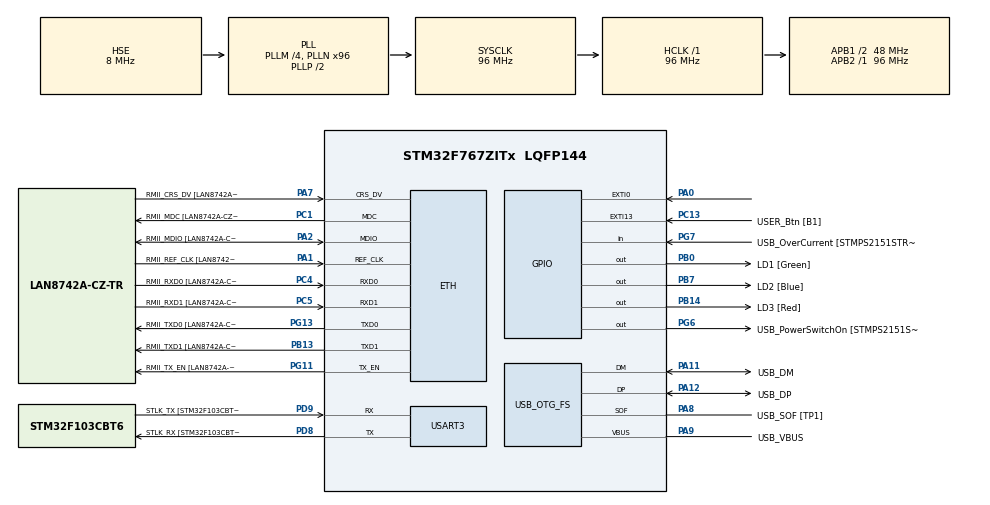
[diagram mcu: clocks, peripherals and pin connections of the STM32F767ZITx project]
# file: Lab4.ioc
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ETH.MediaInterface=HAL_ETH_RMII_MODE
ETH.PHY_Name=LAN8742A_PHY_ADDRESS
ETH.PHY_Value=0
ETH.PhyAddress=0
Mcu.Family=STM32F7
Mcu.Name=STM32F767ZITx
Mcu.Package=LQFP144
NVIC.EXTI0_IRQn=true\:2\:3\:true\:false\:true\:true\:true\:true
NVIC.EXTI15_10_IRQn=true\:3\:1\:true\:false\:true\:true\:true\:true
NVIC.PriorityGroup=NVIC_PRIORITYGROUP_2
PA0/WKUP.GPIO_ModeDefaultEXTI=GPIO_MODE_IT_FALLING
PA0/WKUP.Signal=GPXTI0
PA1.GPIO_Label=RMII_REF_CLK [LAN8742A-CZ-TR_REFCLK0]
PA1.Mode=RMII
PA1.Signal=ETH_REF_CLK
PA10.GPIO_Label=USB_ID
PA10.Signal=USB_OTG_FS_ID
PA11.GPIO_Label=USB_DM
PA11.Mode=Device_Only
PA11.Signal=USB_OTG_FS_DM
PA12.GPIO_Label=USB_DP
PA12.Mode=Device_Only
PA12.Signal=USB_OTG_FS_DP
PA13.GPIO_Label=TMS
PA13.Mode=Serial_Wire
PA13.Signal=SYS_JTMS-SWDIO
PA14.GPIO_Label=TCK
PA14.Mode=Serial_Wire
PA14.Signal=SYS_JTCK-SWCLK
PA2.GPIO_Label=RMII_MDIO [LAN8742A-CZ-TR_MDIO]
PA2.Mode=RMII
PA2.Signal=ETH_MDIO
PA7.GPIO_Label=RMII_CRS_DV [LAN8742A-CZ-TR_CRS_DV]
PA7.Mode=RMII
PA7.Signal=ETH_CRS_DV
PA8.GPIO_Label=USB_SOF [TP1]
PA8.Mode=Activate_SOF_FS
PA8.Signal=USB_OTG_FS_SOF
PA9.GPIO_Label=USB_VBUS
PA9.Mode=Activate_VBUS
PA9.Signal=USB_OTG_FS_VBUS
PB0.GPIO_Label=LD1 [Green]
PB0.Signal=GPIO_Output
PB13.GPIO_Label=RMII_TXD1 [LAN8742A-CZ-TR_TXD1]
PB13.Mode=RMII
PB13.Signal=ETH_TXD1
PB14.GPIO_Label=LD3 [Red]
PB14.Signal=GPIO_Output
PB3.GPIO_Label=SWO
PB3.Signal=SYS_JTDO-SWO
PB7.GPIO_Label=LD2 [Blue]
PB7.Signal=GPIO_Output
PC1.GPIO_Label=RMII_MDC [LAN8742A-CZ-TR_MDC]
PC1.Mode=RMII
PC1.Signal=ETH_MDC
PC13.GPIO_Label=USER_Btn [B1]
PC13.GPIO_ModeDefaultEXTI=GPIO_MODE_IT_RISING
PC13.Signal=GPXTI13
PC14/OSC32_IN.Mode=LSE-External-Oscillator
PC14/OSC32_IN.Signal=RCC_OSC32_IN
PC15/OSC32_OUT.Mode=LSE-External-Oscillator
PC15/OSC32_OUT.Signal=RCC_OSC32_OUT
PC4.GPIO_Label=RMII_RXD0 [LAN8742A-CZ-TR_RXD0]
PC4.Mode=RMII
PC4.Signal=ETH_RXD0
PC5.GPIO_Label=RMII_RXD1 [LAN8742A-CZ-TR_RXD1]
PC5.Mode=RMII
PC5.Signal=ETH_RXD1
PD8.GPIO_Label=STLK_RX [STM32F103CBT6_PA3]
PD8.Mode=Asynchronous
PD8.Signal=USART3_TX
PD9.GPIO_Label=STLK_TX [STM32F103CBT6_PA2]
PD9.Mode=Asynchronous
PD9.Signal=USART3_RX
PG11.GPIO_Label=RMII_TX_EN [LAN8742A-CZ-TR_TXEN]
PG11.Mode=RMII
PG11.Signal=ETH_TX_EN
PG13.GPIO_Label=RMII_TXD0 [LAN8742A-CZ-TR_TXD0]
PG13.Mode=RMII
PG13.Signal=ETH_TXD0
PG6.GPIO_Label=USB_PowerSwitchOn [STMPS2151STR_EN]
PG6.Signal=GPIO_Output
PG7.GPIO_Label=USB_OverCurrent [STMPS2151STR_FAULT]
PG7.Signal=GPIO_Input
PH0/OSC_IN.GPIO_Label=MCO [STM32F103CBT6_PA8]
PH0/OSC_IN.Mode=HSE-External-Clock-Source
PH0/OSC_IN.Signal=RCC_OSC_IN
PH1/OSC_OUT.Mode=HSE-External-Clock-Source
PH1/OSC_OUT.Signal=RCC_OSC_OUT
ProjectManager.HeapSize=0x200
ProjectManager.StackSize=0x400
ProjectManager.TargetToolchain=CMake
RCC.48MHZClocksFreq_Value=24000000
RCC.AHBFreq_Value=96000000
RCC.APB1CLKDivider=RCC_HCLK_DIV2
RCC.APB1Freq_Value=48000000
RCC.APB1TimFreq_Value=96000000
RCC.APB2Freq_Value=96000000
RCC.APB2TimFreq_Value=96000000
RCC.CortexFreq_Value=96000000
RCC.HCLKFreq_Value=96000000
RCC.HSE_VALUE=8000000
RCC.HSI_VALUE=16000000
RCC.PLLM=4
RCC.PLLMUL=RCC_PLL_MUL9
RCC.PLLN=96
RCC.PLLQ=4
RCC.PRESCALERUSB=RCC_USBCLKSOURCE_PLL_DIV1_5
RCC.SYSCLKFreq_VALUE=96000000
RCC.SYSCLKSource=RCC_SYSCLKSOURCE_PLLCLK
RCC.SYSCLKSourceVirtual=RCC_SYSCLKSOURCE_PLLCLK
RCC.USBFreq_Value=48000000
RCC.VCOOutputFreq_Value=192000000
USART3.VirtualMode-Asynchronous=VM_ASYNC
USB_OTG_FS.VirtualMode=Device_Only
board=NUCLEO-F767ZI

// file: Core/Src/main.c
/* USER CODE BEGIN Header */
/**
  ******************************************************************************
  * @file           : main.c
  * @brief          : Main program body
  ******************************************************************************
  * @attention
  *
  * Copyright (c) 2025 STMicroelectronics.
  * All rights reserved.
  *
  * This software is licensed under terms that can be found in the LICENSE file
  * in the root directory of this software component.
  * If no LICENSE file comes with this software, it is provided AS-IS.
  *
  ******************************************************************************
  */
/* USER CODE END Header */
#include "main.h"
#include "string.h"

#if defined ( __ICCARM__ ) /*!< IAR Compiler */
#pragma location=0x2007c000
ETH_DMADescTypeDef  DMARxDscrTab[ETH_RX_DESC_CNT]; /* Ethernet Rx DMA Descriptors */
#pragma location=0x2007c0a0
ETH_DMADescTypeDef  DMATxDscrTab[ETH_TX_DESC_CNT]; /* Ethernet Tx DMA Descriptors */

#elif defined ( __CC_ARM )  /* MDK ARM Compiler */

__attribute__((at(0x2007c000))) ETH_DMADescTypeDef  DMARxDscrTab[ETH_RX_DESC_CNT]; /* Ethernet Rx DMA Descriptors */
__attribute__((at(0x2007c0a0))) ETH_DMADescTypeDef  DMATxDscrTab[ETH_TX_DESC_CNT]; /* Ethernet Tx DMA Descriptors */

#elif defined ( __GNUC__ ) /* GNU Compiler */

ETH_DMADescTypeDef DMARxDscrTab[ETH_RX_DESC_CNT] __attribute__((section(".RxDecripSection"))); /* Ethernet Rx DMA Descriptors */
ETH_DMADescTypeDef DMATxDscrTab[ETH_TX_DESC_CNT] __attribute__((section(".TxDecripSection")));   /* Ethernet Tx DMA Descriptors */
#endif

ETH_TxPacketConfig TxConfig;

ETH_HandleTypeDef heth;

UART_HandleTypeDef huart3;

PCD_HandleTypeDef hpcd_USB_OTG_FS;

void SystemClock_Config(void);
static void MX_GPIO_Init(void);
static void MX_ETH_Init(void);
static void MX_USART3_UART_Init(void);
static void MX_USB_OTG_FS_PCD_Init(void);

int main(void)
{

  /* MCU Configuration--------------------------------------------------------*/

  /* Reset of all peripherals, Initializes the Flash interface and the Systick. */
  HAL_Init();

  /* Configure the system clock */
  SystemClock_Config();

  /* Initialize all configured peripherals */
  MX_GPIO_Init();
  MX_ETH_Init();
  MX_USART3_UART_Init();
  MX_USB_OTG_FS_PCD_Init();

  /* Infinite loop */
  while (1)
  {

    /* USER CODE BEGIN 3 */
    HAL_UART_Transmit(&huart3, (uint8_t *) ".", 1, 100);
    HAL_Delay(400);
  }
  /* USER CODE END 3 */
}

void SystemClock_Config(void)
{
  RCC_OscInitTypeDef RCC_OscInitStruct = {0};
  RCC_ClkInitTypeDef RCC_ClkInitStruct = {0};

  /** Configure LSE Drive Capability
  */
  HAL_PWR_EnableBkUpAccess();

  /** Configure the main internal regulator output voltage
  */
  __HAL_RCC_PWR_CLK_ENABLE();
  __HAL_PWR_VOLTAGESCALING_CONFIG(PWR_REGULATOR_VOLTAGE_SCALE3);

  /** Initializes the RCC Oscillators according to the specified parameters
  * in the RCC_OscInitTypeDef structure.
  */
  RCC_OscInitStruct.OscillatorType = RCC_OSCILLATORTYPE_HSE;
  RCC_OscInitStruct.HSEState = RCC_HSE_BYPASS;
  RCC_OscInitStruct.PLL.PLLState = RCC_PLL_ON;
  RCC_OscInitStruct.PLL.PLLSource = RCC_PLLSOURCE_HSE;
  RCC_OscInitStruct.PLL.PLLM = 4;
  RCC_OscInitStruct.PLL.PLLN = 96;
  RCC_OscInitStruct.PLL.PLLP = RCC_PLLP_DIV2;
  RCC_OscInitStruct.PLL.PLLQ = 4;
  RCC_OscInitStruct.PLL.PLLR = 2;
  if (HAL_RCC_OscConfig(&RCC_OscInitStruct) != HAL_OK)
  {
    Error_Handler();
  }

  /** Activate the Over-Drive mode
  */
  if (HAL_PWREx_EnableOverDrive() != HAL_OK)
  {
    Error_Handler();
  }

  /** Initializes the CPU, AHB and APB buses clocks
  */
  RCC_ClkInitStruct.ClockType = RCC_CLOCKTYPE_HCLK|RCC_CLOCKTYPE_SYSCLK
                              |RCC_CLOCKTYPE_PCLK1|RCC_CLOCKTYPE_PCLK2;
  RCC_ClkInitStruct.SYSCLKSource = RCC_SYSCLKSOURCE_PLLCLK;
  RCC_ClkInitStruct.AHBCLKDivider = RCC_SYSCLK_DIV1;
  RCC_ClkInitStruct.APB1CLKDivider = RCC_HCLK_DIV2;
  RCC_ClkInitStruct.APB2CLKDivider = RCC_HCLK_DIV1;

  if (HAL_RCC_ClockConfig(&RCC_ClkInitStruct, FLASH_LATENCY_3) != HAL_OK)
  {
    Error_Handler();
  }
}

static void MX_ETH_Init(void)
{

   static uint8_t MACAddr[6];

  heth.Instance = ETH;
  MACAddr[0] = 0x00;
  MACAddr[1] = 0x80;
  MACAddr[2] = 0xE1;
  MACAddr[3] = 0x00;
  MACAddr[4] = 0x00;
  MACAddr[5] = 0x00;
  heth.Init.MACAddr = &MACAddr[0];
  heth.Init.MediaInterface = HAL_ETH_RMII_MODE;
  heth.Init.TxDesc = DMATxDscrTab;
  heth.Init.RxDesc = DMARxDscrTab;
  heth.Init.RxBuffLen = 1524;

  if (HAL_ETH_Init(&heth) != HAL_OK)
  {
    Error_Handler();
  }

  memset(&TxConfig, 0 , sizeof(ETH_TxPacketConfig));
  TxConfig.Attributes = ETH_TX_PACKETS_FEATURES_CSUM | ETH_TX_PACKETS_FEATURES_CRCPAD;
  TxConfig.ChecksumCtrl = ETH_CHECKSUM_IPHDR_PAYLOAD_INSERT_PHDR_CALC;
  TxConfig.CRCPadCtrl = ETH_CRC_PAD_INSERT;

}

static void MX_USART3_UART_Init(void)
{

  huart3.Instance = USART3;
  huart3.Init.BaudRate = 115200;
  huart3.Init.WordLength = UART_WORDLENGTH_8B;
  huart3.Init.StopBits = UART_STOPBITS_1;
  huart3.Init.Parity = UART_PARITY_NONE;
  huart3.Init.Mode = UART_MODE_TX_RX;
  huart3.Init.HwFlowCtl = UART_HWCONTROL_NONE;
  huart3.Init.OverSampling = UART_OVERSAMPLING_16;
  huart3.Init.OneBitSampling = UART_ONE_BIT_SAMPLE_DISABLE;
  huart3.AdvancedInit.AdvFeatureInit = UART_ADVFEATURE_NO_INIT;
  if (HAL_UART_Init(&huart3) != HAL_OK)
  {
    Error_Handler();
  }

}

static void MX_USB_OTG_FS_PCD_Init(void)
{

  hpcd_USB_OTG_FS.Instance = USB_OTG_FS;
  hpcd_USB_OTG_FS.Init.dev_endpoints = 6;
  hpcd_USB_OTG_FS.Init.speed = PCD_SPEED_FULL;
  hpcd_USB_OTG_FS.Init.dma_enable = DISABLE;
  hpcd_USB_OTG_FS.Init.phy_itface = PCD_PHY_EMBEDDED;
  hpcd_USB_OTG_FS.Init.Sof_enable = ENABLE;
  hpcd_USB_OTG_FS.Init.low_power_enable = DISABLE;
  hpcd_USB_OTG_FS.Init.lpm_enable = DISABLE;
  hpcd_USB_OTG_FS.Init.vbus_sensing_enable = ENABLE;
  hpcd_USB_OTG_FS.Init.use_dedicated_ep1 = DISABLE;
  if (HAL_PCD_Init(&hpcd_USB_OTG_FS) != HAL_OK)
  {
    Error_Handler();
  }

}

static void MX_GPIO_Init(void)
{
  GPIO_InitTypeDef GPIO_InitStruct = {0};

  /* GPIO Ports Clock Enable */
  __HAL_RCC_GPIOC_CLK_ENABLE();
  __HAL_RCC_GPIOH_CLK_ENABLE();
  __HAL_RCC_GPIOA_CLK_ENABLE();
  __HAL_RCC_GPIOB_CLK_ENABLE();
  __HAL_RCC_GPIOD_CLK_ENABLE();
  __HAL_RCC_GPIOG_CLK_ENABLE();

  /*Configure GPIO pin Output Level */
  HAL_GPIO_WritePin(GPIOB, LD1_Pin|LD3_Pin|LD2_Pin, GPIO_PIN_RESET);

  /*Configure GPIO pin Output Level */
  HAL_GPIO_WritePin(USB_PowerSwitchOn_GPIO_Port, USB_PowerSwitchOn_Pin, GPIO_PIN_RESET);

  /*Configure GPIO pin : USER_Btn_Pin */
  GPIO_InitStruct.Pin = USER_Btn_Pin;
  GPIO_InitStruct.Mode = GPIO_MODE_IT_RISING;
  GPIO_InitStruct.Pull = GPIO_NOPULL;
  HAL_GPIO_Init(USER_Btn_GPIO_Port, &GPIO_InitStruct);

  /*Configure GPIO pin : PA0 */
  GPIO_InitStruct.Pin = GPIO_PIN_0;
  GPIO_InitStruct.Mode = GPIO_MODE_IT_FALLING;
  GPIO_InitStruct.Pull = GPIO_NOPULL;
  HAL_GPIO_Init(GPIOA, &GPIO_InitStruct);

  /*Configure GPIO pins : LD1_Pin LD3_Pin LD2_Pin */
  GPIO_InitStruct.Pin = LD1_Pin|LD3_Pin|LD2_Pin;
  GPIO_InitStruct.Mode = GPIO_MODE_OUTPUT_PP;
  GPIO_InitStruct.Pull = GPIO_NOPULL;
  GPIO_InitStruct.Speed = GPIO_SPEED_FREQ_LOW;
  HAL_GPIO_Init(GPIOB, &GPIO_InitStruct);

  /*Configure GPIO pin : USB_PowerSwitchOn_Pin */
  GPIO_InitStruct.Pin = USB_PowerSwitchOn_Pin;
  GPIO_InitStruct.Mode = GPIO_MODE_OUTPUT_PP;
  GPIO_InitStruct.Pull = GPIO_NOPULL;
  GPIO_InitStruct.Speed = GPIO_SPEED_FREQ_LOW;
  HAL_GPIO_Init(USB_PowerSwitchOn_GPIO_Port, &GPIO_InitStruct);

  /*Configure GPIO pin : USB_OverCurrent_Pin */
  GPIO_InitStruct.Pin = USB_OverCurrent_Pin;
  GPIO_InitStruct.Mode = GPIO_MODE_INPUT;
  GPIO_InitStruct.Pull = GPIO_NOPULL;
  HAL_GPIO_Init(USB_OverCurrent_GPIO_Port, &GPIO_InitStruct);

  /* EXTI interrupt init*/
  HAL_NVIC_SetPriority(EXTI0_IRQn, 2, 3);
  HAL_NVIC_EnableIRQ(EXTI0_IRQn);

  HAL_NVIC_SetPriority(EXTI15_10_IRQn, 3, 1);
  HAL_NVIC_EnableIRQ(EXTI15_10_IRQn);

}

/* USER CODE BEGIN 4 */
void HAL_GPIO_EXTI_Callback(uint16_t GPIO_Pin) {
  // Start Lab4.1
  if (GPIO_Pin == GPIO_PIN_13) {
    HAL_UART_Transmit(&huart3, (uint8_t *) "---", 3, 100);
    HAL_Delay(200);

    for (int i = 0; i <20; i++) {
      HAL_UART_Transmit(&huart3, (uint8_t *) "B", 1, 100);
      HAL_Delay(200);
    }
  }
  // End Lab4.1

  if (GPIO_Pin == GPIO_PIN_0) {
    HAL_UART_Transmit(&huart3, (uint8_t *) "---", 3, 100);
    HAL_Delay(200);

    for (int i = 0; i <20; i++) {
      HAL_UART_Transmit(&huart3, (uint8_t *) "E", 1, 100);
      HAL_Delay(200);
    }
  }
}
/* USER CODE END 4 */

void Error_Handler(void)
{
  __disable_irq();
  while (1)
  {
  }
}
